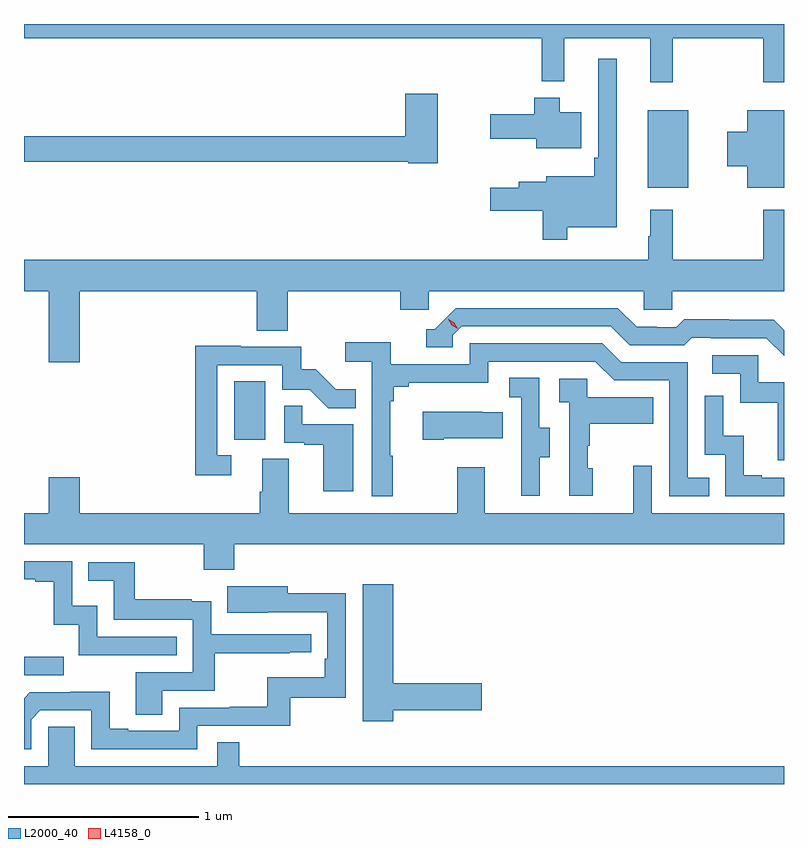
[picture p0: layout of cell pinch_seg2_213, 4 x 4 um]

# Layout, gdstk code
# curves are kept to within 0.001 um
import gdstk
lib = gdstk.Library(unit=1e-6, precision=1e-09)
def R(c, l, rs):  # rectangles x0, y0, x1, y1
    for r in rs: c.add(gdstk.rectangle(r[:2], r[2:], *l))
def P(c, l, *ps):  # polygons
    for p in ps: c.add(gdstk.Polygon(p, *l))
L2000_40 = (2000, 40)
L4158_0 = (4158, 0)

pinch_seg2_213 = lib.new_cell('pinch_seg2_213')
R(pinch_seg2_213, L2000_40, [(968.075,653.607,968.284,653.704), (969.182,654.846,969.346,655.153), (971.357,656.171,971.572,656.581)])
P(pinch_seg2_213, L2000_40, [(971.489,656.96),(971.965,656.96),(971.965,656.727),(972.075,656.727),(972.075,657.034),(968.075,657.034),(968.075,656.96),(970.801,656.96),(970.801,656.732),(970.919,656.732),(970.919,656.96),(971.372,656.96),(971.372,656.727),(971.489,656.727)],
  [(970.933,655.964),(971.194,655.964),(971.194,656.851),(971.097,656.851),(971.097,656.329),(971.077,656.329),(971.077,656.233),(970.823,656.233),(970.823,656.203),(970.679,656.203),(970.679,656.173),(970.53,656.173),(970.53,656.051),(970.804,656.051),(970.804,655.899),(970.933,655.899)],
  [(970.252,656.668),(970.082,656.668),(970.082,656.444),(968.075,656.444),(968.075,656.308),(970.098,656.308),(970.098,656.3),(970.252,656.3)],
  [(971.008,656.569),(970.894,656.569),(970.894,656.647),(970.76,656.647),(970.76,656.559),(970.53,656.559),(970.53,656.429),(970.772,656.429),(970.772,656.381),(971.008,656.381)],
  [(972.075,656.581),(971.882,656.581),(971.882,656.468),(971.777,656.468),(971.777,656.285),(971.882,656.285),(971.882,656.171),(972.075,656.171)],
  [(968.368,655.628),(969.299,655.628),(969.299,655.42),(969.464,655.42),(969.464,655.628),(970.055,655.628),(970.055,655.53),(970.206,655.53),(970.206,655.628),(971.337,655.628),(971.337,655.53),(971.487,655.53),(971.487,655.628),(972.075,655.628),(972.075,656.056),(971.965,656.056),(971.965,655.792),(971.489,655.792),(971.489,656.056),(971.372,656.056),(971.372,655.916),(971.361,655.916),(971.361,655.792),(968.075,655.792),(968.075,655.628),(968.204,655.628),(968.204,655.254),(968.368,655.254)],
  [(972.075,655.422),(972.02,655.477),(971.784,655.477),(971.784,655.48),(971.551,655.48),(971.509,655.437),(971.406,655.437),(971.406,655.44),(971.299,655.44),(971.2,655.539),(970.347,655.539),(970.236,655.428),(970.193,655.428),(970.193,655.332),(970.332,655.332),(970.332,655.395),(970.38,655.443),(971.163,655.443),(971.262,655.344),(971.551,655.344),(971.59,655.383),(971.689,655.383),(971.689,655.38),(971.982,655.38),(972.075,655.287)],
  [(970.015,654.761),(970.003,654.761),(970.003,655.049),(970.022,655.049),(970.022,655.126),(970.099,655.126),(970.099,655.145),(970.518,655.145),(970.518,655.257),(971.082,655.257),(971.181,655.158),(971.472,655.158),(971.472,654.549),(971.681,654.549),(971.681,654.645),(971.568,654.645),(971.568,655.254),(971.218,655.254),(971.119,655.353),(970.422,655.353),(970.422,655.242),(970.004,655.242),(970.004,655.358),(969.765,655.358),(969.765,655.256),(969.906,655.256),(969.906,654.549),(970.015,654.549)],
  [(969.166,654.765),(969.093,654.765),(969.093,655.239),(969.435,655.239),(969.435,655.11),(969.579,655.11),(969.677,655.012),(969.821,655.012),(969.821,655.111),(969.717,655.111),(969.61,655.218),(969.534,655.218),(969.534,655.335),(969.215,655.335),(969.215,655.34),(968.977,655.34),(968.977,654.66),(969.166,654.66)],
  [(972.075,655.149),(971.94,655.149),(971.94,655.29),(971.697,655.29),(971.697,655.194),(971.844,655.194),(971.844,655.041),(972.043,655.041),(972.043,654.738),(972.075,654.738)],
  [(970.789,654.754),(970.843,654.754),(970.843,654.909),(970.788,654.909),(970.788,655.172),(970.629,655.172),(970.629,655.069),(970.692,655.069),(970.692,654.765),(970.691,654.765),(970.691,654.552),(970.789,654.552)],
  [(971.068,654.696),(971.043,654.696),(971.043,654.815),(971.053,654.815),(971.053,654.929),(971.387,654.929),(971.387,655.069),(971.04,655.069),(971.04,655.167),(970.893,655.167),(970.893,655.043),(970.944,655.043),(970.944,654.552),(971.068,654.552)],
  [(972.075,654.645),(971.959,654.645),(971.959,654.658),(971.864,654.658),(971.864,654.866),(971.754,654.866),(971.754,655.078),(971.658,655.078),(971.658,654.768),(971.766,654.768),(971.766,654.549),(972.075,654.549)],
  [(969.808,654.927),(969.539,654.927),(969.539,655.025),(969.444,655.025),(969.444,654.831),(969.551,654.831),(969.551,654.819),(969.65,654.819),(969.65,654.576),(969.808,654.576)],
  [(970.285,654.854),(970.595,654.854),(970.595,654.991),(970.487,654.991),(970.487,654.994),(970.173,654.994),(970.173,654.847),(970.285,654.847)],
  [(969.182,654.296),(972.075,654.296),(972.075,654.46),(971.379,654.46),(971.379,654.709),(971.282,654.709),(971.282,654.46),(970.501,654.46),(970.501,654.7),(970.354,654.7),(970.354,654.46),(969.469,654.46),(969.469,654.746),(969.329,654.746),(969.329,654.572),(969.317,654.572),(969.317,654.46),(968.368,654.46),(968.368,654.649),(968.204,654.649),(968.204,654.46),(968.075,654.46),(968.075,654.296),(969.022,654.296),(969.022,654.161),(969.182,654.161)],
  [(968.879,653.808),(968.46,653.808),(968.46,653.971),(968.328,653.971),(968.328,654.207),(968.075,654.207),(968.075,654.111),(968.135,654.111),(968.135,654.099),(968.231,654.099),(968.231,653.873),(968.364,653.873),(968.364,653.712),(968.879,653.712)],
  [(968.803,653.526),(969.08,653.526),(969.08,653.722),(969.473,653.722),(969.473,653.727),(969.586,653.727),(969.586,653.823),(969.06,653.823),(969.06,653.995),(968.957,653.995),(968.957,654.007),(968.659,654.007),(968.659,654.201),(968.413,654.201),(968.413,654.104),(968.548,654.104),(968.548,653.898),(968.964,653.898),(968.964,653.622),(968.663,653.622),(968.663,653.398),(968.803,653.398)],
  [(970.018,653.422),(970.483,653.422),(970.483,653.564),(970.018,653.564),(970.018,654.085),(969.857,654.085),(969.857,653.364),(970.018,653.364)],
  [(968.112,653.373),(968.16,653.421),(968.43,653.421),(968.43,653.217),(968.988,653.217),(968.988,653.34),(969.475,653.34),(969.475,653.487),(969.768,653.487),(969.768,654.038),(969.463,654.038),(969.463,654.076),(969.145,654.076),(969.145,653.936),(969.672,653.937),(969.672,653.692),(969.659,653.692),(969.659,653.596),(969.354,653.596),(969.354,653.441),(969.157,653.441),(969.157,653.436),(968.892,653.436),(968.892,653.313),(968.623,653.313),(968.623,653.326),(968.527,653.326),(968.527,653.519),(968.322,653.519),(968.322,653.517),(968.106,653.517),(968.075,653.486),(968.075,653.217),(968.112,653.217)],
  [(972.075,653.128),(969.209,653.128),(969.209,653.255),(969.093,653.255),(969.093,653.128),(968.341,653.128),(968.341,653.336),(968.202,653.336),(968.202,653.128),(968.075,653.128),(968.075,653.034),(972.075,653.034)])
P(pinch_seg2_213, L4158_0, [(970.357,655.429),(970.326,655.449),(970.309,655.481),(970.309,655.482),(970.309,655.482),(970.34,655.462),(970.357,655.43),(970.357,655.429)])

lib.write_gds('pinch_seg2_213.gds')
